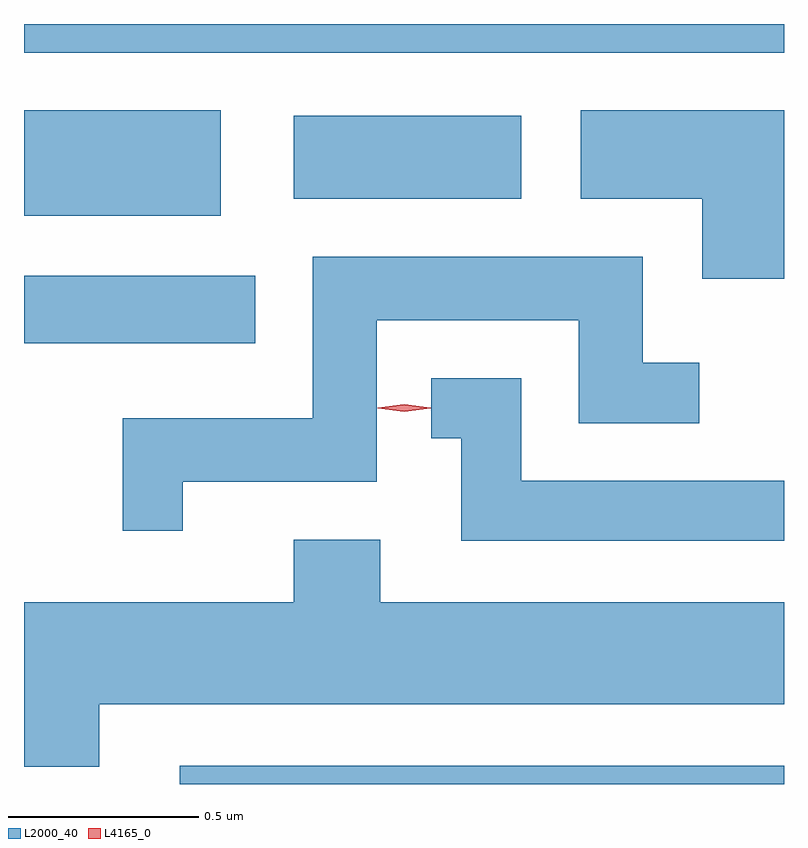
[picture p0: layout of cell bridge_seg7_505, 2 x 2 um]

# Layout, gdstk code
import gdstk
lib = gdstk.Library(unit=1e-6, precision=1e-09)
def R(c, l, rs):  # rectangles x0, y0, x1, y1
    for r in rs: c.add(gdstk.rectangle(r[:2], r[2:], *l))
def P(c, l, *ps):  # polygons
    for p in ps: c.add(gdstk.Polygon(p, *l))
L2000_40 = (2000, 40)
L4165_0 = (4165, 0)

bridge_seg7_505 = lib.new_cell('bridge_seg7_505')
R(bridge_seg7_505, L2000_40, [(1447.421,1709.666,1449.011,1709.714), (1447.011,1710.826,1447.619,1711.004), (1447.011,1711.161,1447.529,1711.439), (1447.721,1711.206,1448.319,1711.424), (1447.011,1711.591,1449.011,1711.666)])
P(bridge_seg7_505, L2000_40, [(1449.011,1711.439),(1448.476,1711.439),(1448.476,1711.206),(1448.796,1711.206),(1448.796,1710.996),(1449.011,1710.996)],
  [(1447.429,1710.461),(1447.939,1710.461),(1447.939,1710.886),(1448.471,1710.886),(1448.471,1710.616),(1448.788,1710.616),(1448.788,1710.774),(1448.639,1710.774),(1448.639,1711.054),(1447.771,1711.054),(1447.771,1710.629),(1447.271,1710.629),(1447.271,1710.333),(1447.429,1710.333)],
  [(1449.011,1710.464),(1448.319,1710.464),(1448.319,1710.734),(1448.083,1710.734),(1448.083,1710.576),(1448.161,1710.576),(1448.161,1710.306),(1449.011,1710.306)],
  [(1447.209,1709.876),(1449.011,1709.876),(1449.011,1710.144),(1447.949,1710.144),(1447.949,1710.309),(1447.721,1710.309),(1447.721,1710.144),(1447.011,1710.144),(1447.011,1709.711),(1447.209,1709.711)])
P(bridge_seg7_505, L4165_0, [(1448.012,1710.646),(1447.942,1710.655),(1447.942,1710.656),(1447.942,1710.656),(1448.012,1710.666),(1448.081,1710.656),(1448.081,1710.656),(1448.081,1710.655)])

lib.write_gds('bridge_seg7_505.gds')
